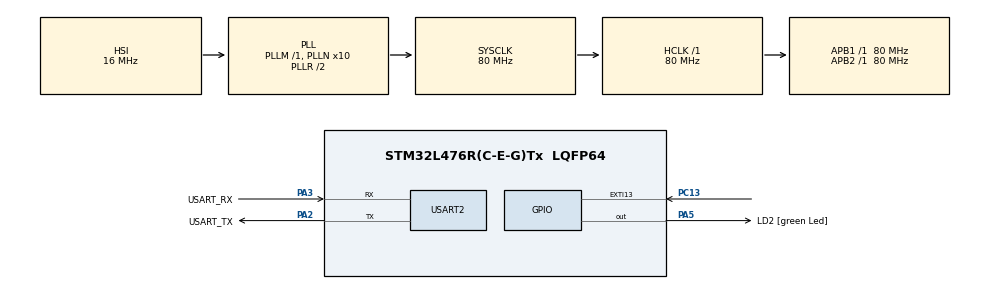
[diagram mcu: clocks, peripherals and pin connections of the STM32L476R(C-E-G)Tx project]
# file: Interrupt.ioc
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Mcu.Family=STM32L4
Mcu.Name=STM32L476R(C-E-G)Tx
Mcu.Package=LQFP64
NVIC.EXTI15_10_IRQn=true\:0\:0\:false\:false\:true\:true\:true
NVIC.PriorityGroup=NVIC_PRIORITYGROUP_4
NVIC.RCC_IRQn=true\:0\:0\:false\:false\:true\:true\:false
PA13\ (JTMS-SWDIO).GPIO_Label=TMS
PA13\ (JTMS-SWDIO).Mode=Serial_Wire
PA13\ (JTMS-SWDIO).Signal=SYS_JTMS-SWDIO
PA14\ (JTCK-SWCLK).GPIO_Label=TCK
PA14\ (JTCK-SWCLK).Mode=Serial_Wire
PA14\ (JTCK-SWCLK).Signal=SYS_JTCK-SWCLK
PA2.GPIO_Label=USART_TX
PA2.GPIO_Mode=GPIO_MODE_AF_PP
PA2.GPIO_PuPd=GPIO_NOPULL
PA2.GPIO_Speed=GPIO_SPEED_FREQ_VERY_HIGH
PA2.Mode=Asynchronous
PA2.Signal=USART2_TX
PA3.GPIO_Label=USART_RX
PA3.GPIO_Mode=GPIO_MODE_AF_PP
PA3.GPIO_PuPd=GPIO_NOPULL
PA3.GPIO_Speed=GPIO_SPEED_FREQ_VERY_HIGH
PA3.Mode=Asynchronous
PA3.Signal=USART2_RX
PA5.GPIO_Label=LD2 [green Led]
PA5.GPIO_ModeDefaultOutputPP=GPIO_MODE_OUTPUT_PP
PA5.GPIO_PuPd=GPIO_NOPULL
PA5.GPIO_Speed=GPIO_SPEED_FREQ_LOW
PA5.Signal=GPIO_Output
PB3\ (JTDO-TRACESWO).GPIO_Label=SWO
PB3\ (JTDO-TRACESWO).Signal=SYS_JTDO-SWO
PC13.GPIO_ModeDefaultEXTI=GPIO_MODE_IT_RISING
PC13.Signal=GPXTI13
PC14-OSC32_IN\ (PC14).Mode=LSE-External-Oscillator
PC14-OSC32_IN\ (PC14).Signal=RCC_OSC32_IN
PC15-OSC32_OUT\ (PC15).Mode=LSE-External-Oscillator
PC15-OSC32_OUT\ (PC15).Signal=RCC_OSC32_OUT
PH0-OSC_IN\ (PH0).Signal=RCC_OSC_IN
PH1-OSC_OUT\ (PH1).Signal=RCC_OSC_OUT
ProjectManager.HeapSize=0x200
ProjectManager.StackSize=0x400
ProjectManager.TargetToolchain=STM32CubeIDE
RCC.ADCFreq_Value=64000000
RCC.AHBFreq_Value=80000000
RCC.APB1Freq_Value=80000000
RCC.APB1TimFreq_Value=80000000
RCC.APB2Freq_Value=80000000
RCC.APB2TimFreq_Value=80000000
RCC.CortexFreq_Value=80000000
RCC.HCLKFreq_Value=80000000
RCC.HSE_VALUE=8000000
RCC.HSI_VALUE=16000000
RCC.MSI_VALUE=4000000
RCC.PLLN=10
RCC.PLLSourceVirtual=RCC_PLLSOURCE_HSI
RCC.PREFETCH_ENABLE=1
RCC.SYSCLKFreq_VALUE=80000000
RCC.SYSCLKSource=RCC_SYSCLKSOURCE_PLLCLK
RCC.USBFreq_Value=64000000
RCC.VCOOutputFreq_Value=160000000
USART2.VirtualMode-Asynchronous=VM_ASYNC
board=NUCLEO-L476RG

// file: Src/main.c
/* USER CODE BEGIN Header */
/**
  ******************************************************************************
  * @file           : main.c
  * @brief          : Main program body
  ******************************************************************************
  * @attention
  *
  * <h2><center>&copy; Copyright (c) 2019 STMicroelectronics.
  * All rights reserved.</center></h2>
  *
  * This software component is licensed by ST under BSD 3-Clause license,
  * the "License"; You may not use this file except in compliance with the
  * License. You may obtain a copy of the License at:
  *                        opensource.org/licenses/BSD-3-Clause
  *
  ******************************************************************************
  */
/* USER CODE END Header */

#include "main.h"

UART_HandleTypeDef huart2;

/* USER CODE BEGIN PV */
uint16_t blinkingTime = 0;
uint16_t lastTickTime = 0;
int blinking = 0;
/* USER CODE END PV */

void SystemClock_Config(void);
static void MX_GPIO_Init(void);
static void MX_USART2_UART_Init(void);

/* USER CODE BEGIN 0 */
void HAL_GPIO_EXTI_Callback(uint16_t GPIO_Pin) {
	if (GPIO_Pin == GPIO_PIN_13) {
		if ((HAL_GetTick - lastTickTime) > 200) {
			blinking = 1;
			blinkingTime += 2000;
			lastTickTime = HAL_GetTick;
		}
	}
}
/* USER CODE END 0 */

int main(void)
{

  /* MCU Configuration--------------------------------------------------------*/

  /* Reset of all peripherals, Initializes the Flash interface and the Systick. */
  HAL_Init();

  /* Configure the system clock */
  SystemClock_Config();

  /* Initialize all configured peripherals */
  MX_GPIO_Init();
  MX_USART2_UART_Init();

  /* Infinite loop */
  while (1)
  {

    /* USER CODE BEGIN 3 */
	  if (blinking) {
		  for (int i = 0; i <= blinkingTime; i += 250) {
			  HAL_GPIO_TogglePin(LD2_GPIO_Port, LD2_Pin);
			  HAL_Delay(200);
		  }

		 HAL_GPIO_WritePin(LD2_GPIO_Port, LD2_Pin, GPIO_PIN_RESET);
		 blinking = !blinking;

	  }

  }
  /* USER CODE END 3 */
}

void SystemClock_Config(void)
{
  RCC_OscInitTypeDef RCC_OscInitStruct = {0};
  RCC_ClkInitTypeDef RCC_ClkInitStruct = {0};
  RCC_PeriphCLKInitTypeDef PeriphClkInit = {0};

  /** Initializes the CPU, AHB and APB busses clocks
  */
  RCC_OscInitStruct.OscillatorType = RCC_OSCILLATORTYPE_HSI;
  RCC_OscInitStruct.HSIState = RCC_HSI_ON;
  RCC_OscInitStruct.HSICalibrationValue = RCC_HSICALIBRATION_DEFAULT;
  RCC_OscInitStruct.PLL.PLLState = RCC_PLL_ON;
  RCC_OscInitStruct.PLL.PLLSource = RCC_PLLSOURCE_HSI;
  RCC_OscInitStruct.PLL.PLLM = 1;
  RCC_OscInitStruct.PLL.PLLN = 10;
  RCC_OscInitStruct.PLL.PLLP = RCC_PLLP_DIV7;
  RCC_OscInitStruct.PLL.PLLQ = RCC_PLLQ_DIV2;
  RCC_OscInitStruct.PLL.PLLR = RCC_PLLR_DIV2;
  if (HAL_RCC_OscConfig(&RCC_OscInitStruct) != HAL_OK)
  {
    Error_Handler();
  }
  /** Initializes the CPU, AHB and APB busses clocks
  */
  RCC_ClkInitStruct.ClockType = RCC_CLOCKTYPE_HCLK|RCC_CLOCKTYPE_SYSCLK
                              |RCC_CLOCKTYPE_PCLK1|RCC_CLOCKTYPE_PCLK2;
  RCC_ClkInitStruct.SYSCLKSource = RCC_SYSCLKSOURCE_PLLCLK;
  RCC_ClkInitStruct.AHBCLKDivider = RCC_SYSCLK_DIV1;
  RCC_ClkInitStruct.APB1CLKDivider = RCC_HCLK_DIV1;
  RCC_ClkInitStruct.APB2CLKDivider = RCC_HCLK_DIV1;

  if (HAL_RCC_ClockConfig(&RCC_ClkInitStruct, FLASH_LATENCY_4) != HAL_OK)
  {
    Error_Handler();
  }
  PeriphClkInit.PeriphClockSelection = RCC_PERIPHCLK_USART2;
  PeriphClkInit.Usart2ClockSelection = RCC_USART2CLKSOURCE_PCLK1;
  if (HAL_RCCEx_PeriphCLKConfig(&PeriphClkInit) != HAL_OK)
  {
    Error_Handler();
  }
  /** Configure the main internal regulator output voltage
  */
  if (HAL_PWREx_ControlVoltageScaling(PWR_REGULATOR_VOLTAGE_SCALE1) != HAL_OK)
  {
    Error_Handler();
  }
}

static void MX_USART2_UART_Init(void)
{

  huart2.Instance = USART2;
  huart2.Init.BaudRate = 115200;
  huart2.Init.WordLength = UART_WORDLENGTH_8B;
  huart2.Init.StopBits = UART_STOPBITS_1;
  huart2.Init.Parity = UART_PARITY_NONE;
  huart2.Init.Mode = UART_MODE_TX_RX;
  huart2.Init.HwFlowCtl = UART_HWCONTROL_NONE;
  huart2.Init.OverSampling = UART_OVERSAMPLING_16;
  huart2.Init.OneBitSampling = UART_ONE_BIT_SAMPLE_DISABLE;
  huart2.AdvancedInit.AdvFeatureInit = UART_ADVFEATURE_NO_INIT;
  if (HAL_UART_Init(&huart2) != HAL_OK)
  {
    Error_Handler();
  }

}

static void MX_GPIO_Init(void)
{
  GPIO_InitTypeDef GPIO_InitStruct = {0};

  /* GPIO Ports Clock Enable */
  __HAL_RCC_GPIOC_CLK_ENABLE();
  __HAL_RCC_GPIOH_CLK_ENABLE();
  __HAL_RCC_GPIOA_CLK_ENABLE();
  __HAL_RCC_GPIOB_CLK_ENABLE();

  /*Configure GPIO pin Output Level */
  HAL_GPIO_WritePin(LD2_GPIO_Port, LD2_Pin, GPIO_PIN_RESET);

  /*Configure GPIO pin : PC13 */
  GPIO_InitStruct.Pin = GPIO_PIN_13;
  GPIO_InitStruct.Mode = GPIO_MODE_IT_RISING;
  GPIO_InitStruct.Pull = GPIO_NOPULL;
  HAL_GPIO_Init(GPIOC, &GPIO_InitStruct);

  /*Configure GPIO pin : LD2_Pin */
  GPIO_InitStruct.Pin = LD2_Pin;
  GPIO_InitStruct.Mode = GPIO_MODE_OUTPUT_PP;
  GPIO_InitStruct.Pull = GPIO_NOPULL;
  GPIO_InitStruct.Speed = GPIO_SPEED_FREQ_LOW;
  HAL_GPIO_Init(LD2_GPIO_Port, &GPIO_InitStruct);

  /* EXTI interrupt init*/
  HAL_NVIC_SetPriority(EXTI15_10_IRQn, 0, 0);
  HAL_NVIC_EnableIRQ(EXTI15_10_IRQn);

}

void Error_Handler(void)
{
}

/************************ (C) COPYRIGHT STMicroelectronics *****END OF FILE****/
